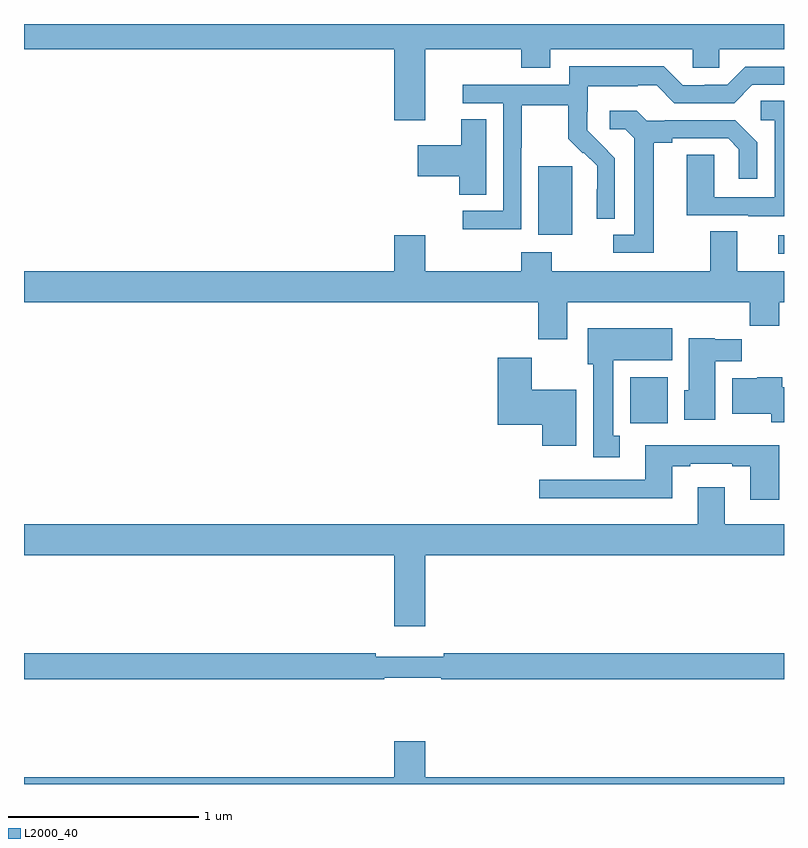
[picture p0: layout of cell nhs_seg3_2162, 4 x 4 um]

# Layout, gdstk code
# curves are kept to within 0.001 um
import gdstk
lib = gdstk.Library(unit=1e-6, precision=1e-09)
def R(c, l, rs):  # rectangles x0, y0, x1, y1
    for r in rs: c.add(gdstk.rectangle(r[:2], r[2:], *l))
def P(c, l, *ps):  # polygons
    for p in ps: c.add(gdstk.Polygon(p, *l))
L2000_40 = (2000, 40)

nhs_seg3_2162 = lib.new_cell('nhs_seg3_2162')
R(nhs_seg3_2162, L2000_40, [(226.19,680.3,226.387,680.542), (226.971,681.192,227,681.288), (225.707,681.29,225.886,681.651)])
P(nhs_seg3_2162, L2000_40, [(223,682.268),(224.948,682.268),(224.948,681.894),(225.112,681.894),(225.112,682.268),(225.617,682.268),(225.617,682.169),(225.769,682.169),(225.769,682.268),(226.521,682.268),(226.521,682.17),(226.659,682.17),(226.659,682.268),(227,682.268),(227,682.4),(223,682.4)],
  [(225.618,681.748),(225.621,681.748),(225.621,681.972),(225.865,681.972),(225.865,681.797),(225.942,681.72),(225.945,681.723),(226.016,681.653),(226.016,681.53),(226.014,681.53),(226.014,681.376),(226.11,681.376),(226.11,681.694),(225.964,681.842),(225.964,681.939),(225.966,681.939),(225.966,682.073),(226.229,682.073),(226.229,682.077),(226.329,682.077),(226.422,681.984),(226.737,681.984),(226.833,682.08),(227,682.08),(227,682.176),(226.797,682.176),(226.701,682.08),(226.583,682.08),(226.583,682.077),(226.467,682.077),(226.367,682.177),(225.87,682.177),(225.87,682.08),(225.309,682.08),(225.309,681.984),(225.522,681.984),(225.522,681.417),(225.309,681.417),(225.309,681.319),(225.618,681.319)],
  [(227,681.995),(226.878,681.995),(226.878,681.894),(226.95,681.894),(226.95,681.489),(226.632,681.489),(226.632,681.713),(226.487,681.713),(226.487,681.393),(226.811,681.393),(226.811,681.389),(227,681.389)],
  [(226.315,681.776),(226.411,681.776),(226.411,681.798),(226.706,681.798),(226.763,681.741),(226.763,681.585),(226.86,681.585),(226.86,681.778),(226.744,681.894),(226.372,681.894),(226.372,681.891),(226.278,681.891),(226.226,681.943),(226.083,681.943),(226.083,681.846),(226.164,681.846),(226.211,681.799),(226.211,681.291),(226.101,681.291),(226.101,681.195),(226.315,681.195)],
  [(225.433,681.899),(225.302,681.899),(225.302,681.763),(225.072,681.763),(225.072,681.598),(225.29,681.598),(225.29,681.502),(225.433,681.502)],
  [(225.859,680.936),(226.819,680.936),(226.819,680.812),(226.976,680.812),(226.976,680.936),(227,680.936),(227,681.1),(226.753,681.1),(226.753,681.308),(226.613,681.308),(226.613,681.1),(225.777,681.1),(225.777,681.199),(225.617,681.199),(225.617,681.1),(225.112,681.1),(225.112,681.289),(224.948,681.289),(224.948,681.1),(223,681.1),(223,680.936),(225.707,680.936),(225.707,680.742),(225.859,680.742)],
  [(226.135,680.234),(226.102,680.234),(226.102,680.63),(226.411,680.63),(226.411,680.8),(225.968,680.8),(225.968,680.61),(225.995,680.61),(225.995,680.121),(226.135,680.121)],
  [(226.639,680.624),(226.778,680.624),(226.778,680.742),(226.635,680.742),(226.635,680.746),(226.499,680.746),(226.499,680.472),(226.475,680.472),(226.475,680.318),(226.639,680.318)],
  [(225.907,680.476),(225.672,680.476),(225.672,680.644),(225.494,680.644),(225.494,680.291),(225.728,680.291),(225.728,680.18),(225.907,680.18)],
  [(227,680.488),(226.991,680.488),(226.991,680.542),(226.86,680.542),(226.86,680.536),(226.727,680.536),(226.727,680.348),(226.934,680.348),(226.934,680.303),(227,680.303)],
  [(226.976,680.182),(226.271,680.182),(226.271,680.001),(225.711,680.001),(225.711,679.904),(226.411,679.904),(226.411,680.073),(226.507,680.073),(226.507,680.085),(226.727,680.085),(226.727,680.073),(226.823,680.073),(226.823,679.896),(226.976,679.896)],
  [(225.112,679.604),(227,679.604),(227,679.768),(226.687,679.768),(226.687,679.963),(226.547,679.963),(226.547,679.768),(223,679.768),(223,679.604),(224.948,679.604),(224.948,679.23),(225.112,679.23)],
  [(224.896,678.96),(225.196,678.96),(225.196,678.952),(227,678.952),(227,679.088),(225.208,679.088),(225.208,679.069),(224.852,679.069),(224.852,679.088),(223,679.088),(223,678.952),(224.896,678.952)],
  [(227,678.436),(225.112,678.436),(225.112,678.625),(224.948,678.625),(224.948,678.436),(223,678.436),(223,678.4),(227,678.4)])

lib.write_gds('nhs_seg3_2162.gds')
